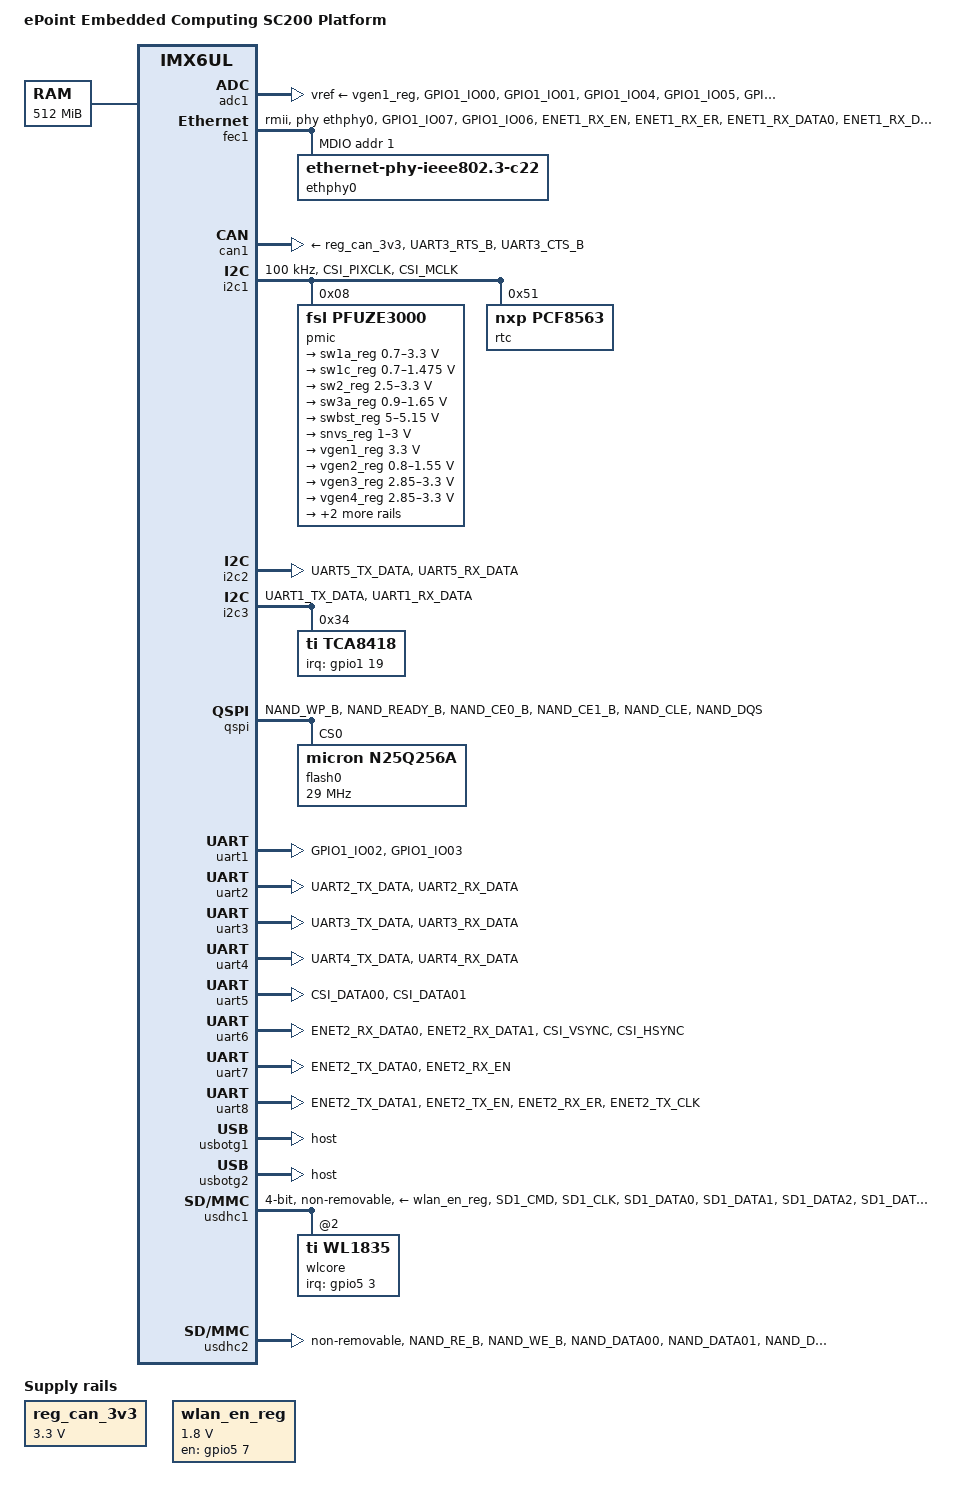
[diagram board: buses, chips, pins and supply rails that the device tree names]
/*
 * Copyright (C) 2015 Freescale Semiconductor, Inc.
 *
 * This program is free software; you can redistribute it and/or modify
 * it under the terms of the GNU General Public License version 2 as
 * published by the Free Software Foundation.
 */

/dts-v1/;

#include <dt-bindings/input/input.h>
#include "imx6ul.dtsi"

/ {
	model = "ePoint Embedded Computing SC200 Platform";
	compatible = "fsl,imx6ul-sc100", "fsl,imx6ul";

	chosen {
		stdout-path = &uart1;
	};

	memory {
		reg = <0x80000000 0x20000000>;
	};

	reserved-memory {
		#address-cells = <1>;
		#size-cells = <1>;
		ranges;

		linux,cma {
			compatible = "shared-dma-pool";
			reusable;
			size = <0x14000000>;
			linux,cma-default;
		};
	};

	regulators {
		compatible = "simple-bus";
		#address-cells = <1>;
		#size-cells = <0>;

		reg_can_3v3: regulator@0 {
			compatible = "regulator-fixed";
			reg = <0>;
			regulator-name = "can-3v3";
			regulator-min-microvolt = <3300000>;
			regulator-max-microvolt = <3300000>;
		};

	};
	
	/* onewire@0 {
		compatible = "w1-gpio";
		gpios = <&gpio1 19 0>;
	}; */
	
	wlan_en_reg: fixedregulator@2 {
		compatible = "regulator-fixed";
		regulator-name = "wlan-en-regulator";
		regulator-min-microvolt = <1800000>;
		regulator-max-microvolt = <1800000>;

		/* WLAN_EN GPIO for this board – Bank5, pin7 */
		gpio = <&gpio5 7 0>;

		/* WLAN card specific delay */
		startup-delay-us = <70000>;
		enable-active-high;
	};
/*
	kim {
		compatible = "kim";
		nshutdown_gpio = <133>;
		dev_name = "/dev/ttymxc4";
		flow_cntrl = <0>;
		baud_rate = <115200>;
	};

	btwilink {
		compatible = "btwilink";
	};
*/
 /* auxdisplay {
		compatible = "hit,hd44780";

		data-gpios = <&gpio6 3 GPIO_ACTIVE_HIGH>,
			    <&gpio6 2 GPIO_ACTIVE_HIGH>,
			    <&gpio6 1 GPIO_ACTIVE_HIGH>,
				<&gpio6 0 GPIO_ACTIVE_HIGH>;

		enable-gpios = <&gpio6 4 GPIO_ACTIVE_HIGH>;
		rs-gpios = <&gpio6 6 GPIO_ACTIVE_HIGH>;
		rw-gpios = <&gpio6 5 GPIO_ACTIVE_HIGH>;

		display-height-chars = <2>;
		display-width-chars = <16>;
	}; */

	/* matrix-keypad {
		compatible = "gpio-matrix-keypad";
		debounce-delay-ms = <5>;
		col-scan-delay-us = <120>;

		row-gpios = <&gpio7 0 0
			     &gpio7 1 0
			     &gpio7 2 0
				 &gpio7 3 0>;

		col-gpios = <&gpio7 4 0
			     &gpio7 5 0
				 &gpio7 6 0
				 &gpio7 7 0>;

		linux,keymap = <0x0000008B
				0x0100009E
				0x02000069
				0x03000069
				0x0001006A
				0x0101001C
				0x0201006C
				0x0301006C
				0x0002006A
				0x0102001C
				0x0202006C
				0x0302006C
				0x0003006A
				0x0103001C
				0x0203006C
				0x0303006C>;
	}; */

};


&adc1 {
  pinctrl-names = "default";
  pinctrl-0 = <&pinctrl_adc1>;
  vref-supply = <&vgen1_reg>;
  status = "okay";
};

&cpu0 {
	arm-supply = <&sw1c_reg>;
	soc-supply = <&sw1c_reg>;
	fsl,arm-soc-shared = <1>;
};

&clks {
	assigned-clocks = <&clks IMX6UL_CLK_PLL4_AUDIO_DIV>;
	assigned-clock-rates = <786432000>;
};



&fec1 {
	pinctrl-names = "default";
	pinctrl-0 = <&pinctrl_enet1>;
	phy-mode = "rmii";
	phy-reset-gpios = <&gpio5 2 GPIO_ACTIVE_LOW>;
	phy-handle = <&ethphy0>;
	status = "okay";
	
		mdio {
		#address-cells = <1>;
		#size-cells = <0>;

		ethphy0: ethernet-phy@1 {
			compatible = "ethernet-phy-ieee802.3-c22";
			reg = <1>;
		};
	};
};


&can1 {
	pinctrl-names = "default";
	pinctrl-0 = <&pinctrl_flexcan1>;
	xceiver-supply = <&reg_can_3v3>;
	status = "okay";
};

&gpc {
	fsl,cpu_pupscr_sw2iso = <0x1>;
	fsl,cpu_pupscr_sw = <0x0>;
	fsl,cpu_pdnscr_iso2sw = <0x1>;
	fsl,cpu_pdnscr_iso = <0x1>;
	fsl,ldo-bypass = <0>; /* DCDC, ldo-enable */
};

&i2c1 {
	clock-frequency = <100000>;
	pinctrl-names = "default";
	pinctrl-0 = <&pinctrl_i2c1>;
	status = "okay";

	pmic: pfuze3000@08 {
		compatible = "fsl,pfuze3000";
		reg = <0x08>;

		regulators {
			sw1a_reg: sw1a {
					regulator-min-microvolt = <700000>;
					regulator-max-microvolt = <3300000>;
					regulator-boot-on;
					regulator-always-on;
					regulator-ramp-delay = <6250>;
			};

			/* use sw1c_reg to align with pfuze100/pfuze200 */
			sw1c_reg: sw1b {
				regulator-min-microvolt = <700000>;
				regulator-max-microvolt = <1475000>;
				regulator-boot-on;
				regulator-always-on;
				regulator-ramp-delay = <6250>;
			};

			sw2_reg: sw2 {
				regulator-min-microvolt = <2500000>;
				regulator-max-microvolt = <3300000>;
				regulator-boot-on;
				regulator-always-on;
			};

			sw3a_reg: sw3 {
				regulator-min-microvolt = <900000>;
				regulator-max-microvolt = <1650000>;
				regulator-boot-on;
				regulator-always-on;
			};

			swbst_reg: swbst {
				regulator-min-microvolt = <5000000>;
				regulator-max-microvolt = <5150000>;
			};

			snvs_reg: vsnvs {
				regulator-min-microvolt = <1000000>;
				regulator-max-microvolt = <3000000>;
				regulator-boot-on;
				regulator-always-on;
			};

			vref_reg: vrefddr {
				regulator-boot-on;
				regulator-always-on;
			};

			vgen1_reg: vldo1 {
				regulator-min-microvolt = <3300000>;
				regulator-max-microvolt = <3300000>;
				regulator-always-on;
			};

			vgen2_reg: vldo2 {
				regulator-min-microvolt = <800000>;
				regulator-max-microvolt = <1550000>;
				regulator-always-on;
			};

			vgen3_reg: vccsd {
				regulator-min-microvolt = <2850000>;
				regulator-max-microvolt = <3300000>;
				regulator-always-on;
			};

			vgen4_reg: v33 {
				regulator-min-microvolt = <2850000>;
				regulator-max-microvolt = <3300000>;
				regulator-always-on;
			};

			vgen5_reg: vldo3 {
				regulator-min-microvolt = <1800000>;
				regulator-max-microvolt = <3300000>;
				regulator-always-on;
			};

			vgen6_reg: vldo4 {
				regulator-min-microvolt = <1800000>;
				regulator-max-microvolt = <3300000>;
				regulator-always-on;
			};
		};
	};
	
	rtc: pcf8563@51 {
		compatible = "nxp,pcf8563";
		reg = <0x51>;
	};
};

&i2c2 {
	clock_frequency = <100000>;
	pinctrl-names = "default";
	pinctrl-0 = <&pinctrl_i2c2>;
	status = "okay";
	
	/* gpio6: gpio@20 {
		compatible = "microchip,mcp23017";
		gpio-controller;
		#gpio-cells=<2>;
		reg=<0x20>;
	};
	
	gpio7: gpio@21 {
		compatible = "microchip,mcp23017";
		gpio-controller;
		#gpio-cells=<2>;
		reg=<0x21>;
	}; */

};

&i2c3 {
	clock_frequency = <100000>;
	pinctrl-names = "default";
	pinctrl-0 = <&pinctrl_i2c3>;
	status = "okay";
	
	tca8418@34 {
		compatible = "ti,tca8418";
		reg=<0x34>;

		keypad,num-rows = <4>;
	    keypad,num-columns = <4>;
		linux,keymap = <0x0000008B
		0x0100009E
		0x02000069
		0x03000069
		0x0001006A
		0x0101001C
		0x0201006C
		0x0301006C
		0x0002006A
		0x0102001C
		0x0202006C
		0x0302006C
		0x0003006A
		0x0103001C
		0x0203006C
		0x0303006C>;

		interrupt-parent = <&gpio1>;
		interrupts = <19 IRQ_TYPE_EDGE_FALLING>;
	};
	

};

&iomuxc {
	pinctrl-names = "default";
	pinctrl-0 = <&pinctrl_hog_1>;
	imx6ul-evk {
		pinctrl_hog_1: hoggrp-1 {
			fsl,pins = <				
				MX6UL_PAD_CSI_DATA04__GPIO4_IO25	0x80000000
				MX6UL_PAD_CSI_DATA05__GPIO4_IO26	0x80000000
				MX6UL_PAD_CSI_DATA06__GPIO4_IO27	0x80000000
				MX6UL_PAD_CSI_DATA07__GPIO4_IO28	0x80000000
				MX6UL_PAD_SNVS_TAMPER0__GPIO5_IO00	0x80000000
				MX6UL_PAD_SNVS_TAMPER1__GPIO5_IO01	0x80000000
				MX6UL_PAD_SNVS_TAMPER2__GPIO5_IO02	0x80000000
				MX6UL_PAD_SNVS_TAMPER3__GPIO5_IO03	0x80000000
				MX6UL_PAD_SNVS_TAMPER4__GPIO5_IO04	0x80000000
				MX6UL_PAD_SNVS_TAMPER5__GPIO5_IO05	0x80000000
				MX6UL_PAD_SNVS_TAMPER6__GPIO5_IO06	0x80000000
				MX6UL_PAD_SNVS_TAMPER7__GPIO5_IO07	0x80000000
				MX6UL_PAD_SNVS_TAMPER8__GPIO5_IO08	0x80000000
				MX6UL_PAD_SNVS_TAMPER9__GPIO5_IO09	0x80000000
				MX6UL_PAD_UART1_RTS_B__GPIO1_IO19	0x80000000
				MX6UL_PAD_UART2_CTS_B__GPIO1_IO22	0x80000000
				MX6UL_PAD_UART2_RTS_B__GPIO1_IO23	0x80000000
				MX6UL_PAD_LCD_DATA00__GPIO3_IO05	0x80000000
				MX6UL_PAD_LCD_DATA01__GPIO3_IO06	0x80000000
				MX6UL_PAD_LCD_DATA02__GPIO3_IO07	0x80000000
				MX6UL_PAD_LCD_DATA03__GPIO3_IO08	0x80000000
				MX6UL_PAD_LCD_DATA04__GPIO3_IO09	0x80000000
				MX6UL_PAD_LCD_DATA05__GPIO3_IO10	0x80000000				
				MX6UL_PAD_LCD_DATA08__GPIO3_IO13	0x80000000
				MX6UL_PAD_LCD_DATA09__GPIO3_IO14	0x80000000
				MX6UL_PAD_LCD_DATA10__GPIO3_IO15	0x80000000
				MX6UL_PAD_LCD_DATA11__GPIO3_IO16	0x80000000
				MX6UL_PAD_LCD_DATA12__GPIO3_IO17	0x80000000
				MX6UL_PAD_LCD_DATA13__GPIO3_IO18	0x80000000
				MX6UL_PAD_LCD_DATA14__GPIO3_IO19	0x80000000
				MX6UL_PAD_LCD_DATA15__GPIO3_IO20	0x80000000
				MX6UL_PAD_LCD_DATA16__GPIO3_IO21	0x80000000
				MX6UL_PAD_LCD_DATA17__GPIO3_IO22	0x80000000
				MX6UL_PAD_LCD_DATA18__GPIO3_IO23	0x80000000
				MX6UL_PAD_LCD_DATA19__GPIO3_IO24	0x80000000
				MX6UL_PAD_LCD_DATA21__GPIO3_IO26    0x80000000
				MX6UL_PAD_LCD_DATA23__GPIO3_IO28    0x80000000
				MX6UL_PAD_GPIO1_IO09__GPIO1_IO09	0x80000000
				MX6UL_PAD_CSI_DATA02__GPIO4_IO23	0x80000000
				MX6UL_PAD_CSI_DATA03__GPIO4_IO24	0x80000000
			>;
		};

		pinctrl_adc1: adc1grp {
			fsl,pins = <
				MX6UL_PAD_GPIO1_IO00__GPIO1_IO00	0xb0
				MX6UL_PAD_GPIO1_IO01__GPIO1_IO01	0xb0
				MX6UL_PAD_GPIO1_IO04__GPIO1_IO04	0xb0
				MX6UL_PAD_GPIO1_IO05__GPIO1_IO05	0xb0
				MX6UL_PAD_GPIO1_IO08__GPIO1_IO08	0xb0
			>;
		};

		pinctrl_ecspi1_1: ecspi1grp {
			fsl,pins = <
				MX6UL_PAD_LCD_DATA23__ECSPI1_MISO	0x100b1
				MX6UL_PAD_LCD_DATA22__ECSPI1_MOSI	0x100b1
				MX6UL_PAD_LCD_DATA20__ECSPI1_SCLK	0x100b1


			>;
		};

		pinctrl_enet1: enet1grp {
			fsl,pins = <
				MX6UL_PAD_GPIO1_IO07__ENET1_MDC		0x1b0b0
				MX6UL_PAD_GPIO1_IO06__ENET1_MDIO	0x1b0b0
				MX6UL_PAD_ENET1_RX_EN__ENET1_RX_EN	0x1b0b0
				MX6UL_PAD_ENET1_RX_ER__ENET1_RX_ER	0x1b0b0
				MX6UL_PAD_ENET1_RX_DATA0__ENET1_RDATA00	0x1b0b0
				MX6UL_PAD_ENET1_RX_DATA1__ENET1_RDATA01	0x1b0b0
				MX6UL_PAD_ENET1_TX_EN__ENET1_TX_EN	0x1b0b0
				MX6UL_PAD_ENET1_TX_DATA0__ENET1_TDATA00	0x1b0b0
				MX6UL_PAD_ENET1_TX_DATA1__ENET1_TDATA01	0x1b0b0
				MX6UL_PAD_ENET1_TX_CLK__ENET1_REF_CLK1	0x4001b031
			>;
		};

		pinctrl_flexcan1: flexcan1grp{
			fsl,pins = <
				MX6UL_PAD_UART3_RTS_B__FLEXCAN1_RX	0x1b020
				MX6UL_PAD_UART3_CTS_B__FLEXCAN1_TX	0x1b020
			>;
		};

		pinctrl_i2c1: i2c1grp {
			fsl,pins = <
				MX6UL_PAD_CSI_PIXCLK__I2C1_SCL 	0x4001b8b0
				MX6UL_PAD_CSI_MCLK__I2C1_SDA  	0x4001b8b0
			>;
		};

		pinctrl_i2c2: i2c2grp {
			fsl,pins = <
				MX6UL_PAD_UART5_TX_DATA__I2C2_SCL 0x4001b8b0
				MX6UL_PAD_UART5_RX_DATA__I2C2_SDA 0x4001b8b0
			>;
		};
			
		pinctrl_i2c3: i2c3grp {
			fsl,pins = <
				MX6UL_PAD_UART1_TX_DATA__I2C3_SCL 0x4001b8b0
				MX6UL_PAD_UART1_RX_DATA__I2C3_SDA 0x4001b8b0
			>;
		};

		pinctrl_qspi: qspigrp {
			fsl,pins = <
				MX6UL_PAD_NAND_WP_B__QSPI_A_SCLK      0x70a1
				MX6UL_PAD_NAND_READY_B__QSPI_A_DATA00 0x70a1
				MX6UL_PAD_NAND_CE0_B__QSPI_A_DATA01   0x70a1
				MX6UL_PAD_NAND_CE1_B__QSPI_A_DATA02   0x70a1
				MX6UL_PAD_NAND_CLE__QSPI_A_DATA03     0x70a1
				MX6UL_PAD_NAND_DQS__QSPI_A_SS0_B      0x70a1
			>;
		};


		pinctrl_uart1: uart1grp {
			fsl,pins = <
				MX6UL_PAD_GPIO1_IO02__UART1_DCE_TX 0x1b0b1
				MX6UL_PAD_GPIO1_IO03__UART1_DCE_RX 0x1b0b1
			>;
		};

		pinctrl_uart2: uart2grp {
			fsl,pins = <
				MX6UL_PAD_UART2_TX_DATA__UART2_DCE_TX	0x1b0b1
				MX6UL_PAD_UART2_RX_DATA__UART2_DCE_RX	0x1b0b1
			>;
		};

		pinctrl_uart3: uart3grp {
			fsl,pins = <
				MX6UL_PAD_UART3_TX_DATA__UART3_DCE_TX	0x1b0b1
				MX6UL_PAD_UART3_RX_DATA__UART3_DCE_RX	0x1b0b1
			>;
		};
		
		pinctrl_uart4: uart4grp {
			fsl,pins = <
				MX6UL_PAD_UART4_TX_DATA__UART4_DCE_TX	0x1b0b1
				MX6UL_PAD_UART4_RX_DATA__UART4_DCE_RX	0x1b0b1
			>;
		};
		
		pinctrl_uart5: uart5grp {
			fsl,pins = <
				MX6UL_PAD_CSI_DATA00__UART5_DCE_TX	0x1b0b1
				MX6UL_PAD_CSI_DATA01__UART5_DCE_RX	0x1b0b1
				/* MX6UL_PAD_CSI_DATA02__UART5_DCE_RTS	0x1b0b1
				MX6UL_PAD_CSI_DATA03__UART5_DCE_CTS	0x1b0b1 */
			>;
		};
		
		pinctrl_uart6: uart6grp {
			fsl,pins = <
				MX6UL_PAD_ENET2_RX_DATA0__UART6_DCE_TX	0x1b0b1
				MX6UL_PAD_ENET2_RX_DATA1__UART6_DCE_RX 	0x1b0b1
				MX6UL_PAD_CSI_VSYNC__UART6_DCE_RTS	0x1b0b1
				MX6UL_PAD_CSI_HSYNC__UART6_DCE_CTS	0x1b0b1
			>;
		};
		
		pinctrl_uart7: uart7grp {
			fsl,pins = <
				MX6UL_PAD_ENET2_TX_DATA0__UART7_DCE_RX	0x1b0b1
				MX6UL_PAD_ENET2_RX_EN__UART7_DCE_TX	0x1b0b1
			>;
		};
		
		pinctrl_uart8: uart8grp {
			fsl,pins = <
				MX6UL_PAD_ENET2_TX_DATA1__UART8_DCE_TX	0x1b0b1
				MX6UL_PAD_ENET2_TX_EN__UART8_DCE_RX		0x1b0b1
				MX6UL_PAD_ENET2_RX_ER__UART8_DCE_RTS	0x1b0b1
				MX6UL_PAD_ENET2_TX_CLK__UART8_DCE_CTS	0x1b0b1
			>;
		};
		
		pinctrl_usdhc1: usdhc1grp {
			fsl,pins = <
				MX6UL_PAD_SD1_CMD__USDHC1_CMD     0x17059
				MX6UL_PAD_SD1_CLK__USDHC1_CLK     0x10071
				MX6UL_PAD_SD1_DATA0__USDHC1_DATA0 0x17059
				MX6UL_PAD_SD1_DATA1__USDHC1_DATA1 0x17059
				MX6UL_PAD_SD1_DATA2__USDHC1_DATA2 0x17059
				MX6UL_PAD_SD1_DATA3__USDHC1_DATA3 0x17059
			>;
		};

		pinctrl_usdhc1_100mhz: usdhc1grp100mhz {
			fsl,pins = <
				MX6UL_PAD_SD1_CMD__USDHC1_CMD     0x170b9
				MX6UL_PAD_SD1_CLK__USDHC1_CLK     0x100b9
				MX6UL_PAD_SD1_DATA0__USDHC1_DATA0 0x170b9
				MX6UL_PAD_SD1_DATA1__USDHC1_DATA1 0x170b9
				MX6UL_PAD_SD1_DATA2__USDHC1_DATA2 0x170b9
				MX6UL_PAD_SD1_DATA3__USDHC1_DATA3 0x170b9
			>;
		};

		pinctrl_usdhc1_200mhz: usdhc1grp200mhz {
			fsl,pins = <
				MX6UL_PAD_SD1_CMD__USDHC1_CMD     0x170f9
				MX6UL_PAD_SD1_CLK__USDHC1_CLK     0x100f9
				MX6UL_PAD_SD1_DATA0__USDHC1_DATA0 0x170f9
				MX6UL_PAD_SD1_DATA1__USDHC1_DATA1 0x170f9
				MX6UL_PAD_SD1_DATA2__USDHC1_DATA2 0x170f9
				MX6UL_PAD_SD1_DATA3__USDHC1_DATA3 0x170f9
			>;
		};

		pinctrl_usdhc2: usdhc2grp {
			fsl,pins = <
				MX6UL_PAD_NAND_RE_B__USDHC2_CLK     0x10069
				MX6UL_PAD_NAND_WE_B__USDHC2_CMD     0x17059
				MX6UL_PAD_NAND_DATA00__USDHC2_DATA0 0x17059
				MX6UL_PAD_NAND_DATA01__USDHC2_DATA1 0x17059
				MX6UL_PAD_NAND_DATA02__USDHC2_DATA2 0x17059
				MX6UL_PAD_NAND_DATA03__USDHC2_DATA3 0x17059
			>;
		};

		pinctrl_wdog: wdoggrp {
			fsl,pins = <
				MX6UL_PAD_LCD_RESET__WDOG1_WDOG_ANY    0x30b0
			>;
		};
	};
};

&qspi {
	pinctrl-names = "default";
	pinctrl-0 = <&pinctrl_qspi>;
	status = "okay";
	ddrsmp=<0>;

	flash0: n25q256a@0 {
		#address-cells = <1>;
		#size-cells = <1>;
		compatible = "micron,n25q256a";
		spi-max-frequency = <29000000>;
		spi-nor,ddr-quad-read-dummy = <6>;
		reg = <0>;
	};
};

&uart1 {
	pinctrl-names = "default";
	pinctrl-0 = <&pinctrl_uart1>;
	status = "okay";
};

&uart2 {
	pinctrl-names = "default";
	pinctrl-0 = <&pinctrl_uart2>;
	e2c,mdb-mode;
	status = "okay";
};

&uart3 {
	pinctrl-names = "default";
	pinctrl-0 = <&pinctrl_uart3>;
	e2c,mdb-mode;
	status = "okay";
};

&uart4 {
	pinctrl-names = "default";
	pinctrl-0 = <&pinctrl_uart4>;
	status = "okay";
};

&uart5 {
	pinctrl-names = "default";
	pinctrl-0 = <&pinctrl_uart5>;
	/* fsl,uart-has-rtscts; */
	status = "okay";
};

&uart6 {
	pinctrl-names = "default";
	pinctrl-0 = <&pinctrl_uart6>;
	fsl,uart-has-rtscts;
	status = "okay";
};

&uart7{
	pinctrl-names = "default";
	pinctrl-0 = <&pinctrl_uart7>;
	status = "okay";
};

&uart8 {
	pinctrl-names = "default";
	pinctrl-0 = <&pinctrl_uart8>;
	fsl,uart-has-rtscts;
	status = "okay";
};

&usbotg1 {
	dr_mode = "host";
	disable-over-current;
	status = "okay";
};

&usbotg2 {
	dr_mode = "host";
	disable-over-current;
	status = "okay";
};

&usbphy1 {
	tx-d-cal = <0x5>;
};

&usbphy2 {
	tx-d-cal = <0x5>;
};

&usdhc1 {
	pinctrl-names = "default";
	pinctrl-0 = <&pinctrl_usdhc1>;
	no-1-8-v;
	non-removable;
	bus-width = <4>;
	vmmc-supply = <&wlan_en_reg>;
	keep-power-in-suspend;
	enable-sdio-wakeup;
	status = "okay";
	#address-cells = <1>;
	#size-cells = <0>;
	wlcore: wlcore@0 {
		compatible = "ti,wl1835";
		reg = <2>;
		interrupt-parent = <&gpio5>;
		interrupts = <3 IRQ_TYPE_EDGE_RISING>;
	};
};

&usdhc2 {
	pinctrl-names = "default";
	pinctrl-0 = <&pinctrl_usdhc2>;
	no-1-8-v;
	non-removable;
	keep-power-in-suspend;
	enable-sdio-wakeup;
	status = "okay";
};

